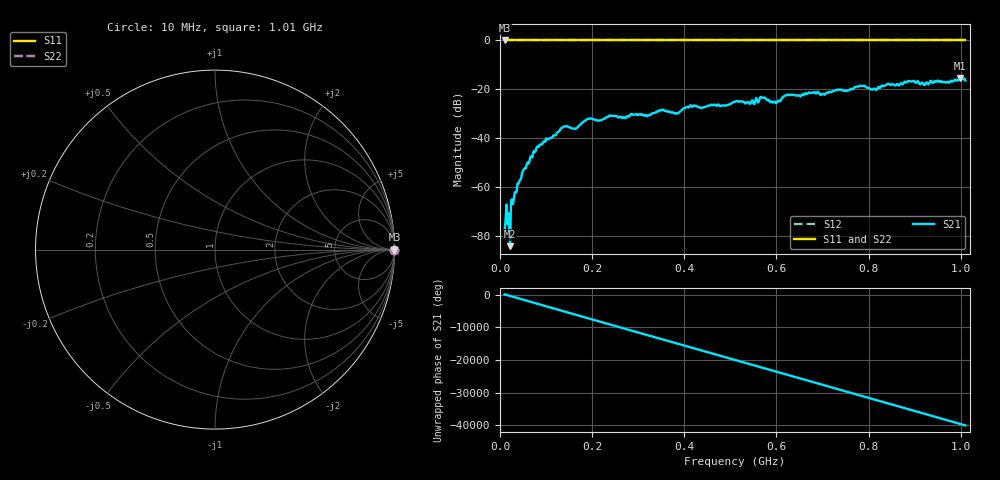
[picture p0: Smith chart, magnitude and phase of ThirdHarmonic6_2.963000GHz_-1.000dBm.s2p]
! 8/17/2025 8:22:05 AM
! C:\ANRITSUVNA\TEMP\TEMP.S2P
! CHANNEL.1
! TR.MEASUREMENT
! RAW.DATA
! RF.CORRECTION.OFF
! AVERAGING.OFF
! IF.BANDWIDTH: 5KHZ
! SWEEPTYPE:  FREQ.SWEEP(Linear)
! Reference Plane Port Info
! PORT:  PORT1  PORT2
! DISTANCE:  0  m  0  m
! TIME:  0  s  0  s
! PHASE.OFFSET:  0  deg.  0  deg.
! LOSS:  0  dB  0  dB
! REF.LOSS:  0  dB  0  dB
! REF.FREQ:  0  Hz  0  Hz
! Power Info
! POWER:  -20  dBm  -20  dBm
! EFF.POWER:  -20  dBm  -20  dBm
! SOURCE.ATTEN:  0  dB  0  dB
! TEST.ATTEN:  0  dB  0  dB
# GHZ S RI R 50.0
! FREQ.GHZ  S11RE  S11IM  S21RE  S21IM  S12RE  S12IM  S22RE  S22IM
!; PortSelection: Port_12
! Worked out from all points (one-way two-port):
!   501 points, 10 MHz to 1.01 GHz, reference 50 ohm
!   highest |S21| = -15.30 dB at 998 MHz (marker M1); lowest = -84.1 dB at 22 MHz (marker M2)
!   lowest |S11| = 0.0 dB at 10 MHz (marker M3)
!   |S11| at or under -10 dB: nowhere
!   |S22| runs from 0.0 to 0.0 dB; largest |S21 - S12| = 1.2
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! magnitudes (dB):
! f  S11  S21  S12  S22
! 10 MHz  0.0  -77.5  0.0  0.0
! 14 MHz  0.0  -67.1  0.0  0.0
! 20 MHz  0.0  -77.3  0.0  0.0
! 22 MHz  0.0  -84.1  0.0  0.0
! 24 MHz  0.0  -65.4  0.0  0.0
! 28 MHz  0.0  -66.9  0.0  0.0
! 48 MHz  0.0  -54.1  0.0  0.0
! 78 MHz  0.0  -44.7  0.0  0.0
! 136 MHz  0.0  -35.5  0.0  0.0
! 162 MHz  0.0  -36.2  0.0  0.0
! 178 MHz  0.0  -33.7  0.0  0.0
! 344 MHz  0.0  -29.0  0.0  0.0
! 384 MHz  0.0  -29.6  0.0  0.0
! 410 MHz  0.0  -27.3  0.0  0.0
! 510 MHz  0.0  -25.0  0.0  0.0
! 570 MHz  0.0  -23.4  0.0  0.0
! 596 MHz  0.0  -25.0  0.0  0.0
! 622 MHz  0.0  -22.2  0.0  0.0
! 678 MHz  0.0  -21.5  0.0  0.0
! 844 MHz  0.0  -17.8  0.0  0.0
! 998 MHz  0.0  -15.3  0.0  0.0
! 1.01 GHz  0.0  -16.4  0.0  0.0
